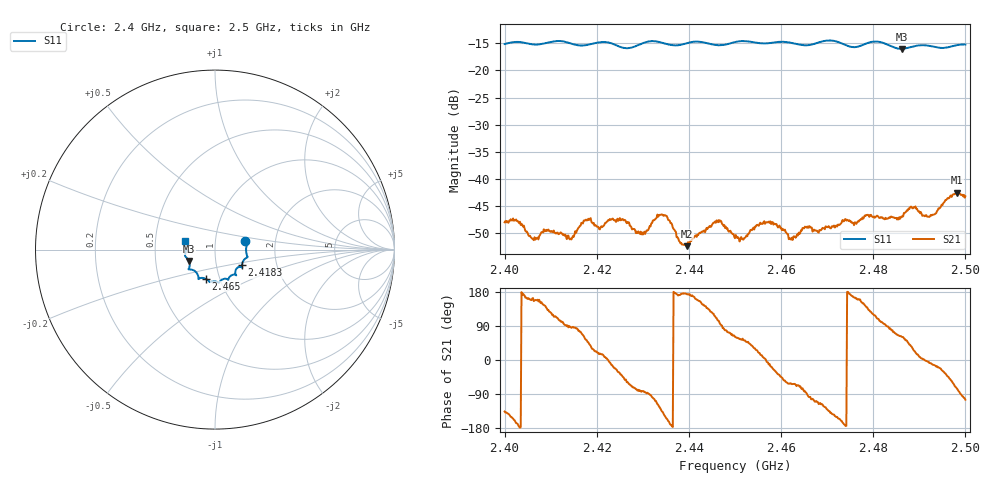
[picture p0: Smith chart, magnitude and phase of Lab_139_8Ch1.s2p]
# Hz S RI R 50
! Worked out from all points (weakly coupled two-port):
!   601 points, 2.4 GHz to 2.5 GHz, reference 50 ohm
!   highest |S21| = -42.48 dB at 2.4982 GHz (marker M1); lowest = -52.3 dB at 2.4395 GHz (marker M2)
!   lowest |S11| = -16.0 dB at 2.4862 GHz (marker M3), VSWR 1.37, Z = 37.1 - j4.82 ohm
!   |S11| at or under -10 dB: start of sweep to end of sweep
!   S12 and S22 are empty: the file has one direction only
!   S11 on the Smith chart (normalised r, x): 2.4 GHz: 1.40, +0.13; 2.4183 GHz: 1.33, -0.24; 2.465 GHz: 0.86, -0.29; 2.5 GHz: 0.71, +0.07
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2.4e9  0.1688 0.0459  -0.00289 -0.00278  0 0  0 0
2.406333e9  0.1732 0.00501  -0.0025 0.00114  0 0  0 0
2.409e9  0.1764 -0.0273  -0.00249 0.00219  0 0  0 0
2.4145e9  0.1693 -0.0496  0.000243 0.00278  0 0  0 0
2.416667e9  0.1549 -0.0683  0.00131 0.00373  0 0  0 0
2.418333e9  0.1497 -0.0868  0.0031 0.00284  0 0  0 0
2.4255e9  0.1296 -0.0981  0.0032 -0.00286  0 0  0 0
2.430167e9  0.1143 -0.1379  0.000435 -0.00315  0 0  0 0
2.433333e9  0.1167 -0.1413  -0.00216 -0.00396  0 0  0 0
2.4395e9  0.0763 -0.1604  -0.0024 0.000244  0 0  0 0
2.4465e9  0.0483 -0.1633  -0.000933 0.0041  0 0  0 0
2.45e9  0.0253 -0.1806  0.00139 0.0025  0 0  0 0
2.456833e9  -0.00852 -0.1771  0.00401 -0.000274  0 0  0 0
2.462167e9  -0.033 -0.1762  0.0013 -0.00246  0 0  0 0
2.465e9  -0.0527 -0.1621  0.000444 -0.0035  0 0  0 0
2.466667e9  -0.0714 -0.1575  -0.000852 -0.00347  0 0  0 0
2.483333e9  -0.142 -0.0956  0.000287 0.00438  0 0  0 0
2.486167e9  -0.1444 -0.0633  0.00219 0.00397  0 0  0 0
2.488667e9  -0.1609 -0.0424  0.00476 0.00255  0 0  0 0
2.492667e9  -0.165 -0.0223  0.00455 -0.000809  0 0  0 0
2.498167e9  -0.1668 0.0374  0.00192 -0.00726  0 0  0 0
2.5e9  -0.1664 0.0474  -0.00177 -0.00672  0 0  0 0
